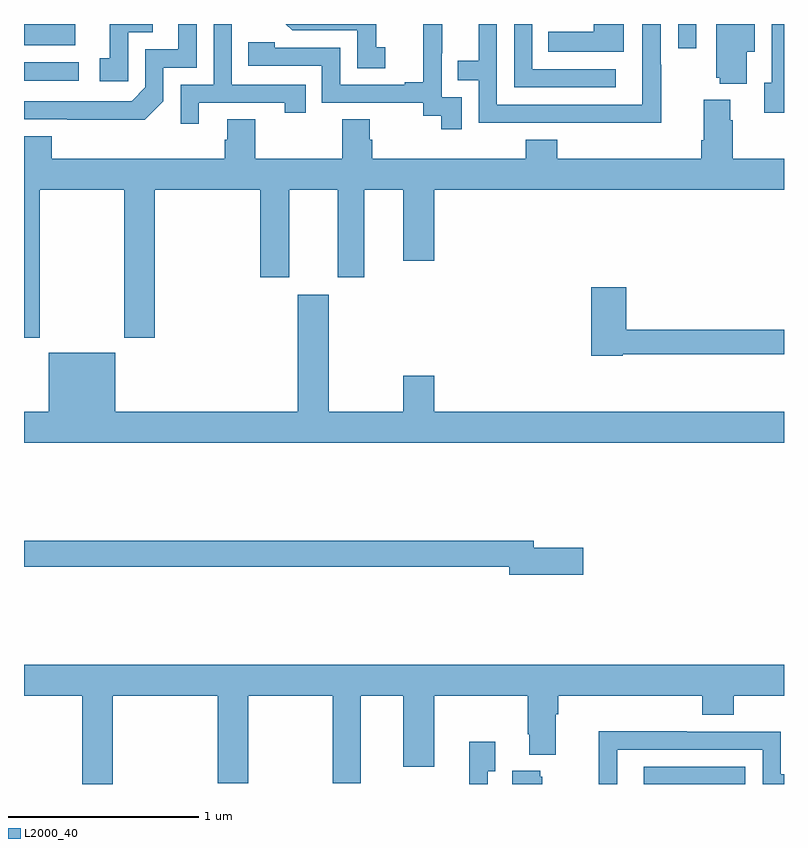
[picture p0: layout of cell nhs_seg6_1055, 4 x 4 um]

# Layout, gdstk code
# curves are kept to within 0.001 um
import gdstk
lib = gdstk.Library(unit=1e-6, precision=1e-09)
def R(c, l, rs):  # rectangles x0, y0, x1, y1
    for r in rs: c.add(gdstk.rectangle(r[:2], r[2:], *l))
def P(c, l, *ps):  # polygons
    for p in ps: c.add(gdstk.Polygon(p, *l))
L2000_40 = (2000, 40)

nhs_seg6_1055 = lib.new_cell('nhs_seg6_1055')
R(nhs_seg6_1055, L2000_40, [(178.263,985.5,178.797,985.59), (175,989.202,175.288,989.298), (178.443,989.373,178.539,989.5), (175,989.387,175.27,989.5)])
P(nhs_seg6_1055, L2000_40, [(178.353,989.285),(178.35,989.285),(178.35,989.5),(178.254,989.5),(178.254,989.318),(178.253,989.318),(178.253,989.076),(177.489,989.076),(177.489,989.5),(177.393,989.5),(177.393,989.306),(177.283,989.306),(177.283,989.205),(177.393,989.205),(177.393,988.98),(177.889,988.98),(177.889,988.979),(178.353,988.979)],
  [(178.156,989.5),(177.999,989.5),(177.999,989.458),(177.76,989.458),(177.76,989.354),(178.156,989.354)],
  [(177.303,989.115),(177.198,989.115),(177.198,989.345),(177.2,989.345),(177.2,989.5),(177.1,989.5),(177.1,989.477),(177.101,989.477),(177.101,989.194),(177.005,989.194),(177.005,989.181),(176.664,989.181),(176.664,989.376),(176.319,989.376),(176.319,989.403),(176.179,989.403),(176.179,989.28),(176.568,989.28),(176.568,989.085),(177.102,989.085),(177.102,989.017),(177.195,989.017),(177.195,988.947),(177.303,988.947)],
  [(178.804,989.354),(178.846,989.354),(178.846,989.5),(178.643,989.5),(178.643,989.217),(178.661,989.217),(178.661,989.186),(178.804,989.186)],
  [(179,989.5),(178.935,989.5),(178.935,989.19),(178.895,989.19),(178.895,989.034),(179,989.034)],
  [(176.902,989.377),(176.853,989.377),(176.853,989.5),(176.378,989.5),(176.412,989.466),(176.754,989.466),(176.754,989.268),(176.902,989.268)],
  [(175.921,989.085),(176.372,989.085),(176.372,989.034),(176.483,989.034),(176.483,989.181),(176.094,989.181),(176.094,989.5),(175.998,989.5),(175.998,989.181),(175.824,989.181),(175.824,988.974),(175.921,988.974)],
  [(175.734,989.094),(175.734,989.271),(175.908,989.271),(175.908,989.5),(175.811,989.5),(175.811,989.367),(175.638,989.367),(175.638,989.166),(175.566,989.094),(175,989.094),(175,988.998),(175.636,988.997)],
  [(175.548,989.457),(175.677,989.457),(175.677,989.5),(175.451,989.5),(175.451,989.319),(175.398,989.319),(175.398,989.199),(175.548,989.199)],
  [(178.114,989.262),(177.675,989.262),(177.675,989.5),(177.579,989.5),(177.579,989.166),(178.114,989.166)],
  [(175.083,988.628),(175.528,988.628),(175.528,987.849),(175.688,987.849),(175.688,988.628),(176.243,988.628),(176.243,988.167),(176.395,988.167),(176.395,988.628),(176.651,988.628),(176.651,988.167),(176.791,988.167),(176.791,988.628),(176.996,988.628),(176.996,988.254),(177.16,988.254),(177.16,988.628),(179,988.628),(179,988.792),(178.73,988.792),(178.73,988.994),(178.717,988.994),(178.717,989.101),(178.577,989.101),(178.577,988.888),(178.565,988.888),(178.565,988.792),(177.806,988.792),(177.806,988.891),(177.641,988.891),(177.641,988.792),(176.834,988.792),(176.834,988.89),(176.821,988.89),(176.821,989),(176.674,989),(176.674,988.792),(176.217,988.792),(176.217,989),(176.069,989),(176.069,988.89),(176.057,988.89),(176.057,988.792),(175.145,988.792),(175.145,988.909),(175,988.909),(175,987.849),(175.083,987.849)],
  [(178.152,987.762),(179,987.762),(179,987.89),(178.169,987.89),(178.169,988.114),(177.986,988.114),(177.986,987.754),(178.152,987.754)],
  [(179,987.46),(177.16,987.46),(177.16,987.649),(176.996,987.649),(176.996,987.46),(176.605,987.46),(176.605,988.075),(176.441,988.075),(176.441,987.46),(175.48,987.46),(175.48,987.769),(175.13,987.769),(175.13,987.46),(175,987.46),(175,987.296),(179,987.296)],
  [(177.943,986.744),(177.682,986.744),(177.682,986.78),(175,986.78),(175,986.644),(177.554,986.644),(177.554,986.602),(177.943,986.602)],
  [(175.466,985.964),(176.021,985.964),(176.021,985.503),(176.181,985.503),(176.181,985.964),(176.626,985.964),(176.626,985.503),(176.773,985.503),(176.773,985.964),(176.996,985.964),(176.996,985.59),(177.16,985.59),(177.16,985.964),(177.652,985.964),(177.652,985.762),(177.659,985.762),(177.659,985.655),(177.799,985.655),(177.799,985.868),(177.812,985.868),(177.812,985.964),(178.571,985.964),(178.571,985.865),(178.736,985.865),(178.736,985.964),(179,985.964),(179,986.128),(175,986.128),(175,985.964),(175.306,985.964),(175.306,985.5),(175.466,985.5)],
  [(178.122,985.68),(178.887,985.68),(178.887,985.5),(179,985.5),(179,985.551),(178.983,985.551),(178.983,985.776),(178.487,985.776),(178.487,985.778),(178.024,985.778),(178.024,985.5),(178.122,985.5)],
  [(177.441,985.567),(177.481,985.567),(177.481,985.723),(177.344,985.723),(177.344,985.5),(177.441,985.5)],
  [(177.727,985.539),(177.716,985.539),(177.716,985.57),(177.569,985.57),(177.569,985.5),(177.727,985.5)])

lib.write_gds('nhs_seg6_1055.gds')
